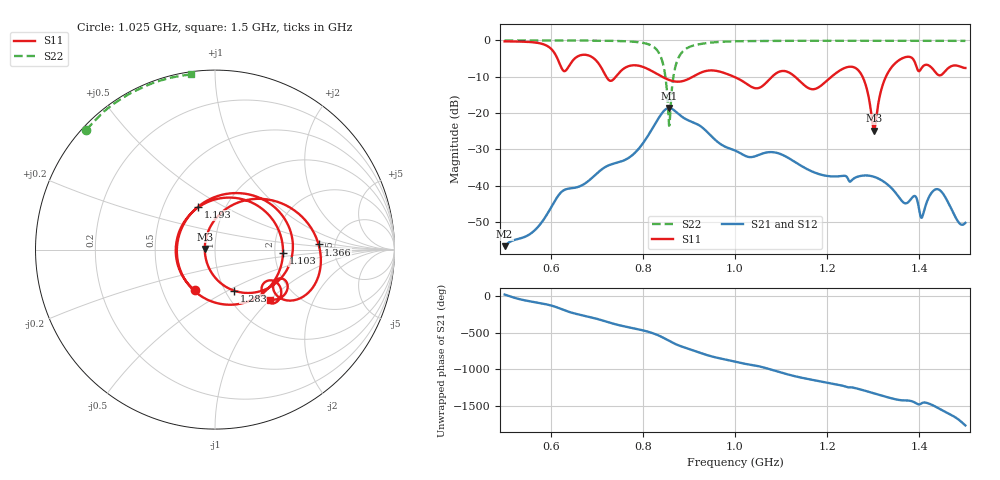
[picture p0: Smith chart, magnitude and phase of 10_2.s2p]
! TOUCHSTONE file generated by CST MICROWAVE STUDIO
! Date and time: Mon Nov 30 09:06:55 2020
! Project name: Scenario_1_Planar_Body_Tissue_Out_of_Line_v2.cst
! Parameters = {dy1=-190.3; L_HA=400; Ltissue=700; MT=2.54; Rad_Dielectric=30; Rad_Lower=7.3; Rad_Upper=30; Wtissue=700; a_HA=580; a_WG=246; b_HA=500; b_WG=121; c_HA=0; c_WG=187; d_feed=85; dx1=346; h_feed=15; h_lower=18; h_upper=40; hfat=3; hgap=25; hmuscle=50; hskin=1.5}
! Header version: 2018
! Port assignment regex: !\s*Touchstone port\s*([0-9]+)\s*=\s*(CST MWS port|CST DS port)\s*([0-9]+|Zmin|Zmax)\s*\(\"(.*)\"\)(\s*mode\s*([0-9]+))?.*
! Touchstone port assignment:
! Touchstone port 1 = CST MWS port 1 ("")
! Touchstone port 2 = CST MWS port 2 ("")
# GHz S DB R 50
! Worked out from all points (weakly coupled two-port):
!   1003 points, 500 MHz to 1.5 GHz, reference 50 ohm
!   highest |S21| = -18.64 dB at 857 MHz (marker M1); lowest = -56.7 dB at 500 MHz (marker M2)
!   lowest |S11| = -24.9 dB at 1.302 GHz (marker M3), VSWR 1.12, Z = 44.6 + j0.373 ohm
!   |S11| at or under -10 dB: 841.8 MHz to 908.5 MHz (66.67 MHz wide, 7.62 % of centre); 997.5 MHz to 1.08 GHz (82.87 MHz wide, 7.98 % of centre); 1.13 GHz to 1.209 GHz (79.17 MHz wide, 6.77 % of centre) (the widest 3 of 5)
!   |S22| runs from -23.5 to 0.0 dB; largest |S21 - S12| = 2.9e-05
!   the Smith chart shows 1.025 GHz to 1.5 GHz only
!   S11 on the Smith chart (normalised r, x): 1.025 GHz: 0.73, -0.35; 1.103 GHz: 2.22, -0.10; 1.193 GHz: 0.74, +0.38; 1.283 GHz: 1.10, -0.53; 1.366 GHz: 3.71, +0.32; 1.5 GHz: 1.48, -1.01
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0.5  -0.26 -121.8  -56.71 22.9  -56.71 22.9  -0.01 151.1
0.667  -4.01 157.5  -39.98 101.1  -39.98 101.1  -0.04 138.4
0.717  -9.17 29.7  -35.00 19.2  -35.00 19.2  -0.09 132.7
0.742  -9.90 -100.3  -33.79 -26.5  -33.79 -26.5  -0.14 128.9
0.771  -7.02 174.0  -32.22 -67.8  -32.22 -67.8  -0.28 122.8
0.834  -9.46 40.1  -21.46 -177.2  -21.46 -177.2  -3.25 83.0
0.857  -10.89 -17.0  -18.64 108.1  -18.64 108.1  -23.52 -36.6
0.895  -10.85 -132.5  -21.81 8.4  -21.81 8.4  -2.19 170.9
0.94  -8.35 86.2  -25.27 -87.6  -25.28 -87.6  -0.72 151.6
1  -10.14 -55.1  -30.34 -176.5  -30.34 -176.5  -0.24 140.3
1.025  -11.94 -116.2  -31.96 150.9  -31.96 150.9  -0.19 137.1
1.074  -10.82 83.8  -30.79 83.2  -30.79 83.2  -0.15 132.1
1.103  -8.42 -2.9  -31.54 29.1  -31.54 29.1  -0.12 129.5
1.167  -13.45 -179.2  -36.11 -64.5  -36.11 -64.5  -0.10 124.2
1.193  -11.81 111.7  -37.19 -94.8  -37.19 -94.8  -0.09 122.2
1.25  -7.23 7.5  -38.90 -167.8  -38.90 -167.8  -0.08 117.8
1.283  -12.01 -65.4  -37.22 144.2  -37.22 144.2  -0.09 115.4
1.302  -24.86 175.8  -37.60 109.1  -37.60 109.1  -0.09 114.0
1.334  -8.46 48.5  -40.03 51.2  -40.03 51.2  -0.08 111.5
1.366  -4.76 2.8  -44.71 13.5  -44.70 13.4  -0.09 109.1
1.441  -9.51 -39.0  -41.04 -92.3  -41.04 -92.3  -0.11 103.0
1.5  -7.60 -42.5  -50.27 30.0  -50.27 30.0  -0.13 98.0
